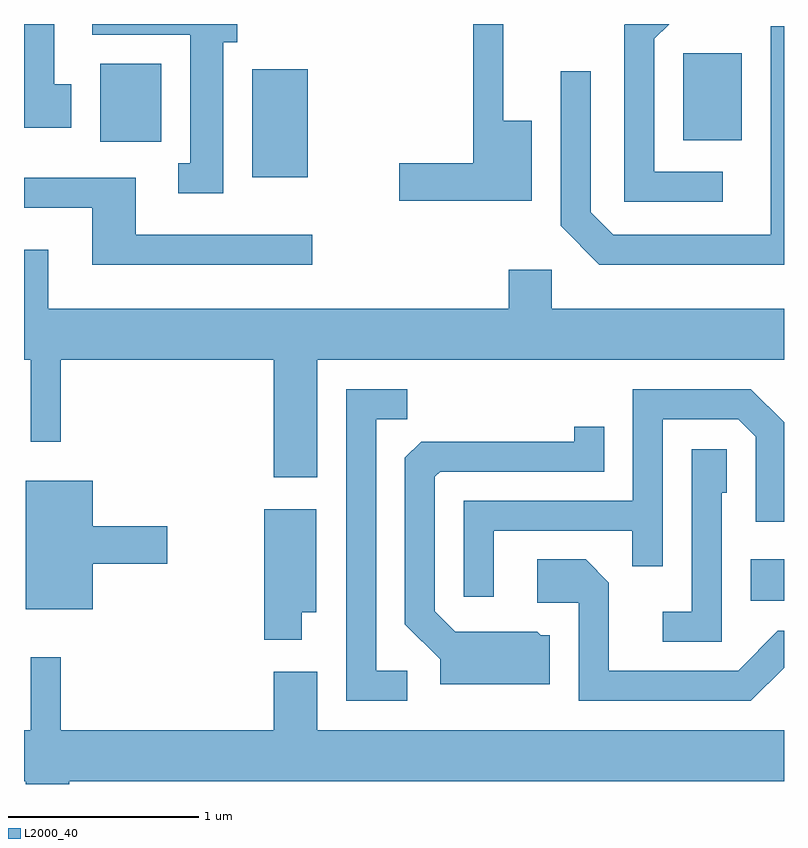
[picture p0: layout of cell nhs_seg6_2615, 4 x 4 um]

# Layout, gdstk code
import gdstk
lib = gdstk.Library(unit=1e-6, precision=1e-09)
def R(c, l, rs):  # rectangles x0, y0, x1, y1
    for r in rs: c.add(gdstk.rectangle(r[:2], r[2:], *l))
def P(c, l, *ps):  # polygons
    for p in ps: c.add(gdstk.Polygon(p, *l))
L2000_40 = (2000, 40)

nhs_seg6_2615 = lib.new_cell('nhs_seg6_2615')
R(nhs_seg6_2615, L2000_40, [(267.436,1633.126,267.611,1633.344), (264.811,1635.356,265.104,1635.924), (264.011,1635.541,264.334,1635.954), (267.081,1635.551,267.389,1636.009)])
P(nhs_seg6_2615, L2000_40, [(267.288,1635.384),(266.929,1635.384),(266.929,1636.084),(267.007,1636.162),(266.776,1636.162),(266.771,1636.157),(266.771,1635.226),(267.288,1635.226)],
  [(266.284,1635.654),(266.134,1635.654),(266.134,1636.162),(265.976,1636.162),(265.976,1635.429),(265.586,1635.429),(265.586,1635.231),(266.284,1635.231)],
  [(263.859,1635.844),(263.769,1635.844),(263.769,1636.162),(263.611,1636.162),(263.611,1635.616),(263.859,1635.616)],
  [(264.659,1636.066),(264.734,1636.066),(264.734,1636.162),(263.971,1636.162),(263.971,1636.106),(264.486,1636.106),(264.486,1635.429),(264.423,1635.429),(264.423,1635.271),(264.659,1635.271)],
  [(267.611,1636.149),(267.541,1636.149),(267.541,1635.054),(266.712,1635.054),(266.594,1635.172),(266.594,1635.913),(266.436,1635.913),(266.436,1635.099),(266.639,1634.896),(267.611,1634.896)],
  [(265.128,1635.054),(264.199,1635.054),(264.199,1635.354),(263.611,1635.354),(263.611,1635.196),(263.971,1635.196),(263.971,1634.896),(265.128,1634.896)],
  [(265.154,1634.396),(267.611,1634.396),(267.611,1634.664),(266.389,1634.664),(266.389,1634.869),(266.161,1634.869),(266.161,1634.664),(263.739,1634.664),(263.739,1634.974),(263.611,1634.974),(263.611,1634.396),(263.646,1634.396),(263.646,1633.963),(263.804,1633.963),(263.804,1634.396),(264.926,1634.396),(264.926,1633.776),(265.154,1633.776)],
  [(266.084,1633.496),(266.811,1633.496),(266.811,1633.308),(266.974,1633.308),(266.974,1634.081),(267.369,1634.081),(267.461,1633.989),(267.461,1633.541),(267.611,1633.541),(267.611,1634.065),(267.437,1634.239),(266.816,1634.239),(266.816,1633.654),(265.926,1633.654),(265.926,1633.148),(266.084,1633.148)],
  [(265.628,1632.759),(265.464,1632.759),(265.464,1634.081),(265.628,1634.081),(265.628,1634.239),(265.306,1634.239),(265.306,1632.601),(265.628,1632.601)],
  [(266.379,1632.944),(266.332,1632.944),(266.312,1632.964),(265.882,1632.964),(265.774,1633.072),(265.774,1633.779),(265.802,1633.806),(266.664,1633.806),(266.664,1634.043),(266.506,1634.043),(266.506,1633.964),(265.702,1633.964),(265.616,1633.879),(265.616,1633.004),(265.801,1632.819),(265.801,1632.686),(266.379,1632.686)],
  [(267.284,1633.696),(267.309,1633.696),(267.309,1633.924),(267.126,1633.924),(267.126,1633.069),(266.973,1633.069),(266.973,1632.911),(267.284,1632.911)],
  [(263.974,1633.321),(264.364,1633.321),(264.364,1633.519),(263.974,1633.519),(263.974,1633.759),(263.621,1633.759),(263.621,1633.081),(263.974,1633.081)],
  [(265.074,1633.066),(265.149,1633.066),(265.149,1633.609),(264.876,1633.609),(264.876,1632.921),(265.074,1632.921)],
  [(267.611,1632.775),(267.611,1632.969),(267.579,1632.969),(267.369,1632.759),(266.689,1632.759),(266.689,1633.222),(266.567,1633.344),(266.311,1633.344),(266.311,1633.116),(266.531,1633.116),(266.531,1632.601),(267.437,1632.601)],
  [(263.849,1632.176),(267.611,1632.176),(267.611,1632.444),(265.154,1632.444),(265.154,1632.754),(264.926,1632.754),(264.926,1632.444),(263.804,1632.444),(263.804,1632.828),(263.646,1632.828),(263.646,1632.444),(263.611,1632.444),(263.611,1632.176),(263.621,1632.176),(263.621,1632.162),(263.849,1632.162)])

lib.write_gds('nhs_seg6_2615.gds')
